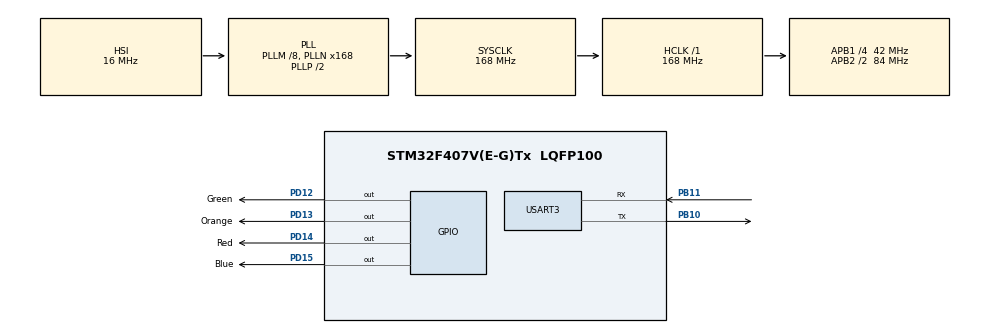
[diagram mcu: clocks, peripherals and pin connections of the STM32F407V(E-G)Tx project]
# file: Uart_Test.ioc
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Dma.Request0=USART3_RX
Dma.USART3_RX.0.Direction=DMA_PERIPH_TO_MEMORY
Dma.USART3_RX.0.FIFOMode=DMA_FIFOMODE_DISABLE
Dma.USART3_RX.0.Instance=DMA1_Stream1
Dma.USART3_RX.0.MemDataAlignment=DMA_MDATAALIGN_BYTE
Dma.USART3_RX.0.MemInc=DMA_MINC_ENABLE
Dma.USART3_RX.0.Mode=DMA_NORMAL
Dma.USART3_RX.0.PeriphDataAlignment=DMA_PDATAALIGN_BYTE
Dma.USART3_RX.0.PeriphInc=DMA_PINC_DISABLE
Dma.USART3_RX.0.Priority=DMA_PRIORITY_LOW
Mcu.Family=STM32F4
Mcu.Name=STM32F407V(E-G)Tx
Mcu.Package=LQFP100
NVIC.DMA1_Stream1_IRQn=true\:0\:0\:false\:false\:true\:false\:true\:true
NVIC.PriorityGroup=NVIC_PRIORITYGROUP_0
NVIC.TIM1_BRK_TIM9_IRQn=true\:0\:0\:false\:false\:true\:true\:true\:true
NVIC.USART3_IRQn=true\:0\:0\:false\:false\:true\:true\:true\:true
PA13.Mode=Serial_Wire
PA13.Signal=SYS_JTMS-SWDIO
PA14.Mode=Serial_Wire
PA14.Signal=SYS_JTCK-SWCLK
PB10.Mode=Asynchronous
PB10.Signal=USART3_TX
PB11.Mode=Asynchronous
PB11.Signal=USART3_RX
PD12.GPIO_Label=Green
PD12.Signal=GPIO_Output
PD13.GPIO_Label=Orange
PD13.Signal=GPIO_Output
PD14.GPIO_Label=Red
PD14.Signal=GPIO_Output
PD15.GPIO_Label=Blue
PD15.Signal=GPIO_Output
PH0-OSC_IN.Mode=HSE-External-Oscillator
PH0-OSC_IN.Signal=RCC_OSC_IN
PH1-OSC_OUT.Mode=HSE-External-Oscillator
PH1-OSC_OUT.Signal=RCC_OSC_OUT
ProjectManager.HeapSize=0x200
ProjectManager.StackSize=0x400
ProjectManager.TargetToolchain=STM32CubeIDE
RCC.48MHZClocksFreq_Value=48000000
RCC.AHBFreq_Value=168000000
RCC.APB1CLKDivider=RCC_HCLK_DIV4
RCC.APB1Freq_Value=42000000
RCC.APB1TimFreq_Value=84000000
RCC.APB2CLKDivider=RCC_HCLK_DIV2
RCC.APB2Freq_Value=84000000
RCC.APB2TimFreq_Value=168000000
RCC.CortexFreq_Value=168000000
RCC.HCLKFreq_Value=168000000
RCC.HSE_VALUE=8000000
RCC.HSI_VALUE=16000000
RCC.PLLM=8
RCC.PLLN=168
RCC.PLLQ=7
RCC.SYSCLKFreq_VALUE=168000000
RCC.SYSCLKSource=RCC_SYSCLKSOURCE_PLLCLK
RCC.VCOOutputFreq_Value=336000000
TIM9.Period=9999
TIM9.Prescaler=167
USART3.VirtualMode=VM_ASYNC
VP_TIM9_VS_ClockSourceINT.Mode=Internal
board=STM32F407G-DISC1

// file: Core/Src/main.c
/* USER CODE BEGIN Header */
/**
  ******************************************************************************
  * @file           : main.c
  * @brief          : Main program body
  ******************************************************************************
  * @attention
  *
  * Copyright (c) 2024 STMicroelectronics.
  * All rights reserved.
  *
  * This software is licensed under terms that can be found in the LICENSE file
  * in the root directory of this software component.
  * If no LICENSE file comes with this software, it is provided AS-IS.
  *
  ******************************************************************************
  */
/* USER CODE END Header */
#include "main.h"
#include "dma.h"
#include "tim.h"
#include "usart.h"
#include "gpio.h"

/* USER CODE BEGIN Includes */
#include "rom_communication.h"
#include "stdio.h"
/* USER CODE END Includes */

/* USER CODE BEGIN PTD */
uint8_t rx_data[42];
struct ROM_COMMUNICATION receive_data = {0};
struct ROM_COMMUNICATION transmit_data = {0};
struct e1234567_status e_leds_status = {0};
uint8_t t1 = -40;
uint8_t t2 = 50;
uint32_t t3 = -40434;
uint32_t t4 = 6029372;
uint8_t t5 = 12;
uint8_t t6 = -19;
/* USER CODE END PTD */

void SystemClock_Config(void);
/* USER CODE BEGIN PFP */
void HAL_UART_RxCpltCallback(UART_HandleTypeDef *huart)
{
	char *pend; char *pend1; char *pend2; char *pend3;char *pend4;
	char *pend5; char *pend6; char *pend7;char *pend8;char *pend9;
	int16_t rar =  strtol(rx_data, &pend, 10);
	int16_t lar =  strtol(pend , &pend1, 10);
	int32_t rec =  strtol(pend1, &pend2, 10);
	int32_t lec =  strtol(pend2, &pend3, 10);
	int16_t rdr =  strtol(pend3, &pend4, 10);
	int16_t ldr =  strtol(pend4, &pend5, 10);
	int16_t free=  strtol(pend5, &pend6, 10);
	int16_t e123=  strtol(pend6, &pend7, 10);
	int16_t volt= (strtol(pend7, &pend8, 10)); //  & 0xff;
	float  amp  =  strtof(pend8, &pend9);
	int8_t checksum=(strtol(pend9, NULL, 10)) & 0xff;  //

	//printf("%s \r\n",rx_data);
	printf("rar: %d\r\n", rar);
	printf("lar: %d\r\n", lar);
	printf("rec: %d\r\n", rec);
	printf("lec: %d\r\n", lec);

	HAL_UART_Receive_DMA(&huart3,rx_data,26);
}
/* USER CODE END PFP */

/* USER CODE BEGIN 0 */
//int _write(int file, char *data, int len)
//{
//	for(int i = 0; i < len; i++)
//	{
//		ITM_SendChar(data[i]);
//	}
//	return len;
//}
/* USER CODE END 0 */

int main(void)
{

  /* MCU Configuration--------------------------------------------------------*/

  /* Reset of all peripherals, Initializes the Flash interface and the Systick. */
  HAL_Init();

  /* Configure the system clock */
  SystemClock_Config();

  /* Initialize all configured peripherals */
  MX_GPIO_Init();
  MX_DMA_Init();
  MX_USART3_UART_Init();
  MX_TIM9_Init();
  /* USER CODE BEGIN 2 */
  //HAL_UART_Receive_DMA(&huart3,rx_data,42);
  HAL_TIM_Base_Start_IT(&htim9);
  /* USER CODE END 2 */

  /* Infinite loop */
  while (1)
  {

    /* USER CODE BEGIN 3 */
	/*	HAL_GPIO_WritePin(GPIOD,Green_Pin,GPIO_PIN_SET);
		HAL_Delay(1000);
		HAL_GPIO_WritePin(GPIOD,Green_Pin,GPIO_PIN_RESET);

		HAL_Delay(1000);*/
  }
  /* USER CODE END 3 */
}

void SystemClock_Config(void)
{
  RCC_OscInitTypeDef RCC_OscInitStruct = {0};
  RCC_ClkInitTypeDef RCC_ClkInitStruct = {0};

  /** Configure the main internal regulator output voltage
  */
  __HAL_RCC_PWR_CLK_ENABLE();
  __HAL_PWR_VOLTAGESCALING_CONFIG(PWR_REGULATOR_VOLTAGE_SCALE1);

  /** Initializes the RCC Oscillators according to the specified parameters
  * in the RCC_OscInitTypeDef structure.
  */
  RCC_OscInitStruct.OscillatorType = RCC_OSCILLATORTYPE_HSI;
  RCC_OscInitStruct.HSIState = RCC_HSI_ON;
  RCC_OscInitStruct.HSICalibrationValue = RCC_HSICALIBRATION_DEFAULT;
  RCC_OscInitStruct.PLL.PLLState = RCC_PLL_ON;
  RCC_OscInitStruct.PLL.PLLSource = RCC_PLLSOURCE_HSI;
  RCC_OscInitStruct.PLL.PLLM = 8;
  RCC_OscInitStruct.PLL.PLLN = 168;
  RCC_OscInitStruct.PLL.PLLP = RCC_PLLP_DIV2;
  RCC_OscInitStruct.PLL.PLLQ = 7;
  if (HAL_RCC_OscConfig(&RCC_OscInitStruct) != HAL_OK)
  {
    Error_Handler();
  }

  /** Initializes the CPU, AHB and APB buses clocks
  */
  RCC_ClkInitStruct.ClockType = RCC_CLOCKTYPE_HCLK|RCC_CLOCKTYPE_SYSCLK
                              |RCC_CLOCKTYPE_PCLK1|RCC_CLOCKTYPE_PCLK2;
  RCC_ClkInitStruct.SYSCLKSource = RCC_SYSCLKSOURCE_PLLCLK;
  RCC_ClkInitStruct.AHBCLKDivider = RCC_SYSCLK_DIV1;
  RCC_ClkInitStruct.APB1CLKDivider = RCC_HCLK_DIV4;
  RCC_ClkInitStruct.APB2CLKDivider = RCC_HCLK_DIV2;

  if (HAL_RCC_ClockConfig(&RCC_ClkInitStruct, FLASH_LATENCY_5) != HAL_OK)
  {
    Error_Handler();
  }
}

/* USER CODE BEGIN 4 */
// printf debug function အသုံးပြုနိုင်ရန်
int _write(int file, char *ptr, int len)
{
  (void)file;

  int DataIdx;

  for (DataIdx = 0; DataIdx < len; DataIdx++)
  {
   ITM_SendChar(*ptr++);
  }
  return len;
}
//Program တစ်ခုလုံးတွက် Timer9 Interrupt
void TIM1_BRK_TIM9_IRQHandler(void)
{
  /* USER CODE BEGIN TIM1_BRK_TIM9_IRQn 0 */
	if(TIM9->SR & TIM_SR_UIF)
		{
			/*char tx_data[100]; // Buffer to hold the string representation of the integer
			sprintf(tx_data, "%d %d %ld %ld %d \r\n", t1, t2, t3, t4, t5); // Convert integer to string
			HAL_UART_Transmit_IT(&huart3, tx_data, 50);
			printf("hello\n");
			printf("TR_Data: %s\r\n",tx_data);*/
		transmit_data.right_actual_rpm = -3452;
		transmit_data.left_actual_rpm = 4353;
		transmit_data.right_encoder_count = -4536762;
		transmit_data.left_encoder_count = 4875743;
		transmit_data.free = 4;
		transmit_data.e1234567 = 8;
			encodeBuffer(&transmit_data.right_actual_rpm, &transmit_data.left_actual_rpm,
					&transmit_data.right_encoder_count, &transmit_data.left_encoder_count,
					&transmit_data.free, &transmit_data.e1234567,
					&transmit_data.volt, &transmit_data.ampere,
					transmit_data.buffer );

			HAL_UART_Transmit_IT(&huart3,transmit_data.buffer,26);
			HAL_UART_Receive_DMA(&huart3,rx_data,42);
			printf("%d\r\n",transmit_data.right_actual_rpm);
			printf("%d\r\n",transmit_data.left_actual_rpm);
			HAL_GPIO_TogglePin(GPIOD,Green_Pin);
		}
  /* USER CODE END TIM1_BRK_TIM9_IRQn 0 */
  //HAL_TIM_IRQHandler(&htim9);
  /* USER CODE BEGIN TIM1_BRK_TIM9_IRQn 1 */

  /* USER CODE END TIM1_BRK_TIM9_IRQn 1 */
}

/* USER CODE END 4 */

void Error_Handler(void)
{
  __disable_irq();
  while (1)
  {
  }
}
